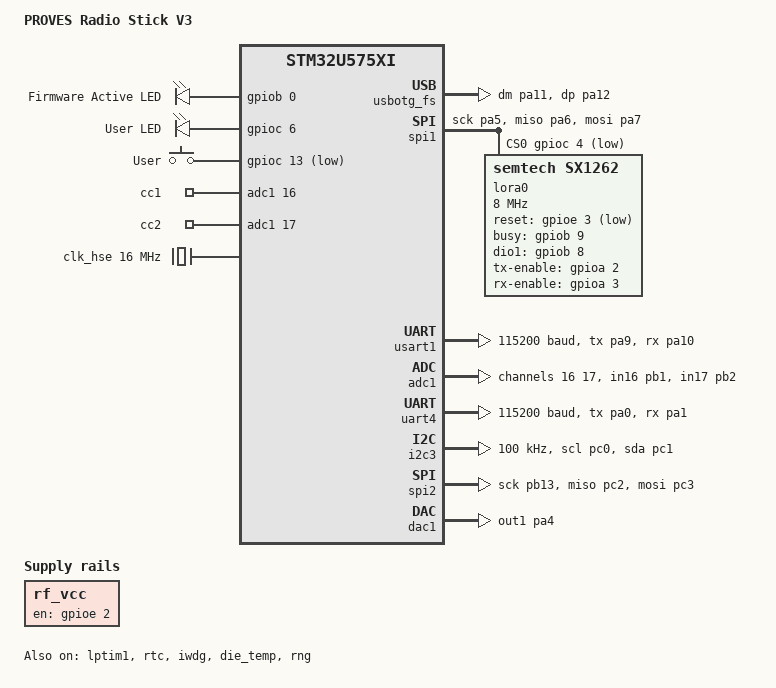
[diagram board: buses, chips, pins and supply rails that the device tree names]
/*
 * PROVES Radio Stick V3: STM32U575VIT6 (LQFP-100) + EByte E22-400M30S (SX1268).
 * Pin map: proves_radio_stick_V3/pinmap/pinmap.csv
 *
 * SPDX-License-Identifier: Apache-2.0
 */

/dts-v1/;
#include <st/u5/stm32u575Xi.dtsi>
#include <st/u5/stm32u575vitx-pinctrl.dtsi>
#include <zephyr/dt-bindings/input/input-event-codes.h>
#include <zephyr/dt-bindings/lora/sx126x.h>

/ {
	model = "PROVES Radio Stick V3";
	compatible = "bronco-space,proves-radio-stick-v3";

	chosen {
		zephyr,sram = &sram0;
		zephyr,flash = &flash0;
		zephyr,code-partition = &slot0_partition;
	};

	leds {
		compatible = "gpio-leds";

		/* D1 "Firmware_Active": PB0 -> R13 -> LED -> GND */
		fw_led: led_0 {
			gpios = <&gpiob 0 GPIO_ACTIVE_HIGH>;
			label = "Firmware Active LED";
		};

		/* D2 user LED: PC6 -> R103 -> LED -> GND */
		user_led: led_1 {
			gpios = <&gpioc 6 GPIO_ACTIVE_HIGH>;
			label = "User LED";
		};
	};

	gpio_keys {
		compatible = "gpio-keys";

		/* SW3 to GND, R102 10k pull-up. PC13 is WKUP2. */
		user_button: button_0 {
			label = "User";
			gpios = <&gpioc 13 GPIO_ACTIVE_LOW>;
			zephyr,code = <INPUT_KEY_0>;
		};
	};

	/*
	 * U19 TPS22918 load switch feeding the E22 from VBUS. R95 pulls ON high,
	 * so the radio is powered from reset; drive low to power-cycle it.
	 */
	rf_vcc: rf-vcc {
		compatible = "regulator-fixed";
		regulator-name = "RF_VCC";
		enable-gpios = <&gpioe 2 GPIO_ACTIVE_HIGH>;
		startup-delay-us = <5000>;
		regulator-boot-on;
	};

	zephyr,user {
		/* USB-C CC1/CC2 (5.1k Rd): read the host's current advertisement. */
		io-channels = <&adc1 16>, <&adc1 17>;
		io-channel-names = "cc1", "cc2";
	};

	aliases {
		led0 = &fw_led;
		led1 = &user_led;
		sw0 = &user_button;
		lora0 = &lora0;
		watchdog0 = &iwdg;
		die-temp0 = &die_temp;
	};
};

/*
 * Y101 16 MHz HSE -> PLL1 VCO 480 MHz:
 *   R /3 = 160 MHz SYSCLK, Q /10 = 48 MHz for USB (crystal accuracy).
 */
&clk_hse {
	clock-frequency = <DT_FREQ_M(16)>;
	status = "okay";
};

/* Y102 32.768 kHz LSE for RTC and the low-power tick; medium-high drive for margin. */
&clk_lse {
	driving-capability = <2>;
	status = "okay";
};

&clk_msis {
	status = "okay";
	msi-range = <4>;
	msi-pll-mode;
};

&pll1 {
	div-m = <1>;
	mul-n = <30>;
	div-q = <10>;
	div-r = <3>;
	clocks = <&clk_hse>;
	status = "okay";
};

&rcc {
	clocks = <&pll1>;
	clock-frequency = <DT_FREQ_M(160)>;
	ahb-prescaler = <1>;
	apb1-prescaler = <1>;
	apb2-prescaler = <1>;
	apb3-prescaler = <1>;
};

stm32_lp_tick_source: &lptim1 {
	clocks = <&rcc STM32_CLOCK(APB3, 11)>,
		 <&rcc STM32_SRC_LSE LPTIM1_SEL(3)>;
	status = "okay";
};

&rtc {
	clocks = <&rcc STM32_CLOCK(APB3, 21)>,
		 <&rcc STM32_SRC_LSE RTC_SEL(1)>;
	status = "okay";
};

zephyr_udc0: &usbotg_fs {
	clocks = <&rcc STM32_CLOCK(AHB2, 14)>,
		 <&rcc STM32_SRC_PLL1_Q ICKLK_SEL(2)>;
	pinctrl-0 = <&usb_otg_fs_dm_pa11 &usb_otg_fs_dp_pa12>;
	pinctrl-names = "default";
	status = "okay";
};

/*
 * E22-400M30S on SPI1. NSS is PC4 as a GPIO chip select. The radio pins avoid
 * PA15/PB5/PB14/PB15, which carry the UCPD1 CC and dead-battery functions.
 */
&spi1 {
	pinctrl-0 = <&spi1_sck_pa5 &spi1_miso_pa6 &spi1_mosi_pa7>;
	pinctrl-names = "default";
	cs-gpios = <&gpioc 4 GPIO_ACTIVE_LOW>;
	status = "okay";

	lora0: lora@0 {
		/*
		 * The E22-400M30S is an SX1268. Like FC v5e, describe it as an
		 * SX1262 (same register interface) so it uses the loramac-node
		 * backend the flight software builds with; Zephyr only accepts
		 * "semtech,sx1268" via the LoRa Basics Modem module.
		 */
		compatible = "semtech,sx1262";
		reg = <0>;
		spi-max-frequency = <DT_FREQ_M(8)>;
		reset-gpios = <&gpioe 3 GPIO_ACTIVE_LOW>;
		busy-gpios = <&gpiob 9 GPIO_ACTIVE_HIGH>;
		dio1-gpios = <&gpiob 8 GPIO_ACTIVE_HIGH>;
		/* R11/R12 hold RXEN/TXEN low until the driver takes over. */
		tx-enable-gpios = <&gpioa 2 GPIO_ACTIVE_HIGH>;
		rx-enable-gpios = <&gpioa 3 GPIO_ACTIVE_HIGH>;
		/* Same module and settings as FC v5e. */
		dio3-tcxo-voltage = <SX126X_DIO3_TCXO_1V8>;
		tcxo-power-startup-delay-ms = <10>;
		rx-boosted;
	};
};

/* VCP on J5 (STDC14). */
&usart1 {
	pinctrl-0 = <&usart1_tx_pa9 &usart1_rx_pa10>;
	pinctrl-names = "default";
	current-speed = <115200>;
	status = "okay";
};


/*
 * ADC1: CC sense (IN16 PB1, IN17 PB2). J3's analog-capable pins are
 * IN5 PA0, IN6 PA1, IN1 PC0, IN2 PC1 and IN9 PA4.
 */
&adc1 {
	pinctrl-0 = <&adc1_in16_pb1 &adc1_in17_pb2>;
	pinctrl-names = "default";
	st,adc-clock-source = "ASYNC";
	st,adc-prescaler = <4>;
	#address-cells = <1>;
	#size-cells = <0>;
	status = "okay";

	channel@10 {
		reg = <16>;
		zephyr,gain = "ADC_GAIN_1";
		zephyr,reference = "ADC_REF_INTERNAL";
		zephyr,acquisition-time = <ADC_ACQ_TIME_DEFAULT>;
		zephyr,resolution = <12>;
	};

	channel@11 {
		reg = <17>;
		zephyr,gain = "ADC_GAIN_1";
		zephyr,reference = "ADC_REF_INTERNAL";
		zephyr,acquisition-time = <ADC_ACQ_TIME_DEFAULT>;
		zephyr,resolution = <12>;
	};
};

/*
 * J3 breakout. I2C3, SPI2 and UART4 sit on separate pins, so a face board,
 * an SD breakout and a UART device can all be connected at once. They are
 * pre-wired but disabled; enable them in an overlay, e.g.
 * `&spi2 { status = "okay"; };`.
 *
 *   J3 2 PA0 UART4_TX   J3 3 PA1 UART4_RX
 *   J3 4 PC0 I2C3_SCL   J3 5 PC1 I2C3_SDA  (R104/R105 4.7k pull-ups)
 *   J3 6 PB13 SPI2_SCK  J3 7 PC2 SPI2_MISO  J3 8 PC3 SPI2_MOSI
 *   J3 9 PA4 SPI2 chip select (GPIO), or DAC1_OUT1
 */
&uart4 {
	pinctrl-0 = <&uart4_tx_pa0 &uart4_rx_pa1>;
	pinctrl-names = "default";
	current-speed = <115200>;
};

&i2c3 {
	pinctrl-0 = <&i2c3_scl_pc0 &i2c3_sda_pc1>;
	pinctrl-names = "default";
	clock-frequency = <I2C_BITRATE_STANDARD>;
};

&spi2 {
	pinctrl-0 = <&spi2_sck_pb13 &spi2_miso_pc2 &spi2_mosi_pc3>;
	pinctrl-names = "default";
	cs-gpios = <&gpioa 4 GPIO_ACTIVE_LOW>;
};

&dac1 {
	pinctrl-0 = <&dac1_out1_pa4>;
	pinctrl-names = "default";
};

&iwdg {
	status = "okay";
};

&die_temp {
	status = "okay";
};

&rng {
	status = "okay";
};

&gpdma1 {
	status = "okay";
};

&flash0 {
	partitions {
		compatible = "fixed-partitions";
		#address-cells = <1>;
		#size-cells = <1>;

		/* MCUboot layout, matching the PROVES flight software. */
		boot_partition: partition@0 {
			label = "mcuboot";
			reg = <0x00000000 DT_SIZE_K(64)>;
		};

		slot0_partition: partition@10000 {
			label = "image-0";
			reg = <0x00010000 DT_SIZE_K(960)>;
		};

		slot1_partition: partition@100000 {
			label = "image-1";
			reg = <0x00100000 DT_SIZE_K(960)>;
		};

		storage_partition: partition@1f0000 {
			label = "storage";
			reg = <0x001f0000 DT_SIZE_K(64)>;
		};
	};
};

/* Console and shell on USB CDC-ACM (needs zephyr_udc0 above). */
#include <../boards/common/usb/cdc_acm_serial.dtsi>
